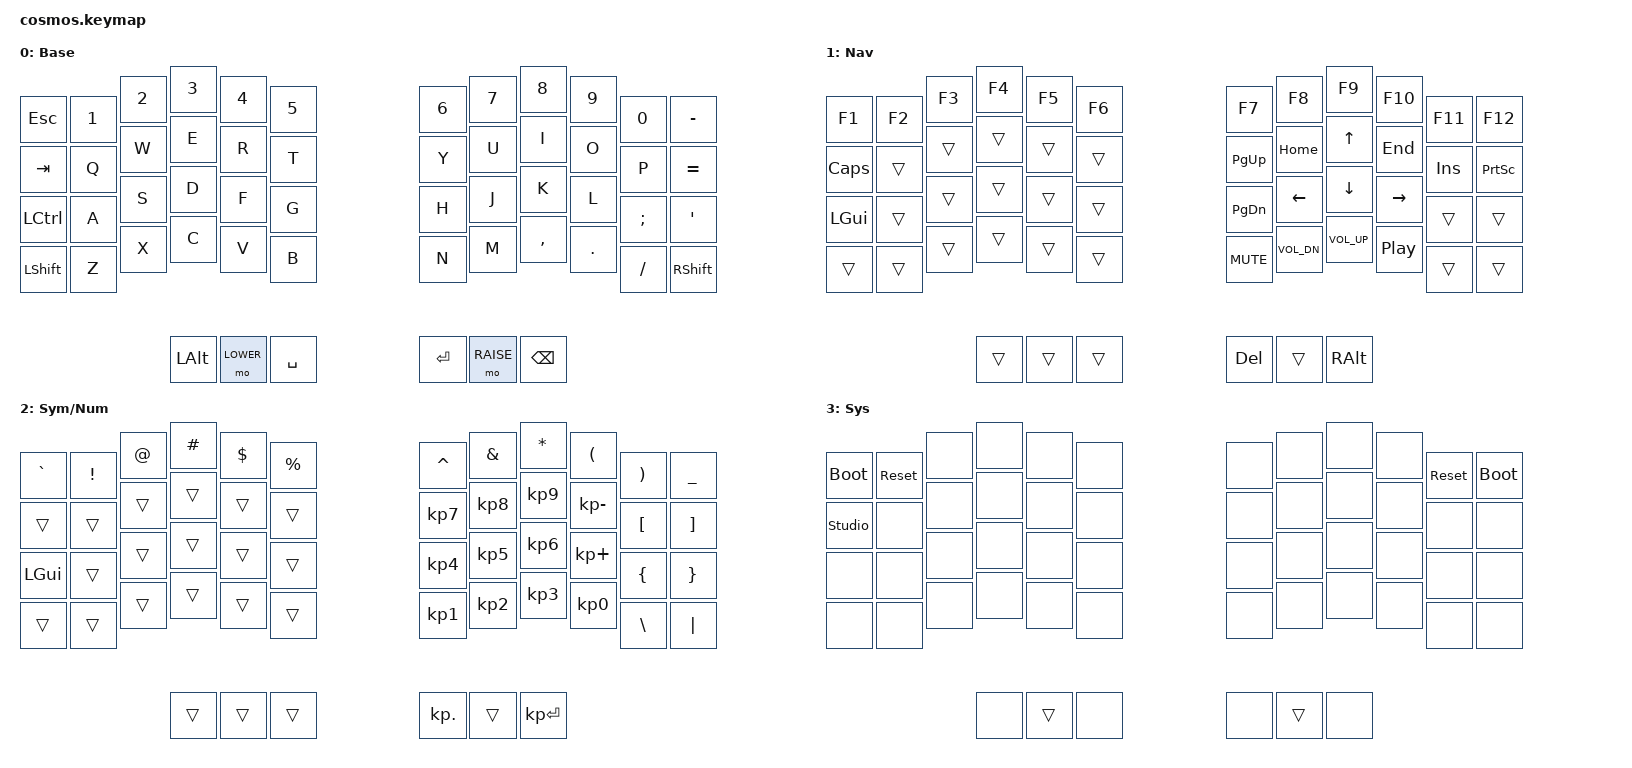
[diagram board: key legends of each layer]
/*
 * Cosmos 4x6 + 3 thumbs per half (27 keys/half) - plain QWERTY.
 * No hold-taps on the base layer so it behaves like a normal keyboard for
 * gaming. Remap live with ZMK Studio.
 *
 * Bottom row = 3 thumb keys per half, written outer -> inner on the left and
 * inner -> outer on the right (visual order).
 */

#include <behaviors.dtsi>
#include <dt-bindings/zmk/keys.h>

#define BASE  0
#define LOWER 1
#define RAISE 2
#define SYS   3

#define ___ &trans
#define XXX &none

/ {
    conditional_layers {
        compatible = "zmk,conditional-layers";
        sys_layer {
            if-layers = <LOWER RAISE>;
            then-layer = <SYS>;
        };
    };

    keymap {
        compatible = "zmk,keymap";

        base_layer {
            display-name = "Base";
            bindings = <
&kp ESC    &kp N1  &kp N2  &kp N3  &kp N4     &kp N5        &kp N6   &kp N7     &kp N8     &kp N9   &kp N0    &kp MINUS
&kp TAB    &kp Q   &kp W   &kp E   &kp R      &kp T         &kp Y    &kp U      &kp I      &kp O    &kp P     &kp EQUAL
&kp LCTRL  &kp A   &kp S   &kp D   &kp F      &kp G         &kp H    &kp J      &kp K      &kp L    &kp SEMI  &kp SQT
&kp LSHFT  &kp Z   &kp X   &kp C   &kp V      &kp B         &kp N    &kp M      &kp COMMA  &kp DOT  &kp FSLH  &kp RSHFT
                           &kp LALT  &mo LOWER  &kp SPACE     &kp RET  &mo RAISE  &kp BSPC
            >;
        };

        lower_layer {
            display-name = "Nav";
            bindings = <
&kp F1     &kp F2  &kp F3  &kp F4  &kp F5  &kp F6        &kp F7      &kp F8        &kp F9        &kp F10    &kp F11   &kp F12
&kp CAPS   ___     ___     ___     ___     ___           &kp PG_UP   &kp HOME      &kp UP        &kp END    &kp INS   &kp PSCRN
&kp LGUI   ___     ___     ___     ___     ___           &kp PG_DN   &kp LEFT      &kp DOWN      &kp RIGHT  ___       ___
___        ___     ___     ___     ___     ___           &kp C_MUTE  &kp C_VOL_DN  &kp C_VOL_UP  &kp C_PP   ___       ___
                           ___     ___     ___           &kp DEL     ___           &kp RALT
            >;
        };

        raise_layer {
            display-name = "Sym/Num";
            bindings = <
&kp GRAVE  &kp EXCL  &kp AT  &kp HASH  &kp DLLR  &kp PRCNT     &kp CARET  &kp AMPS   &kp STAR   &kp LPAR      &kp RPAR  &kp UNDER
___        ___       ___     ___       ___       ___           &kp KP_N7  &kp KP_N8  &kp KP_N9  &kp KP_MINUS  &kp LBKT  &kp RBKT
&kp LGUI   ___       ___     ___       ___       ___           &kp KP_N4  &kp KP_N5  &kp KP_N6  &kp KP_PLUS   &kp LBRC  &kp RBRC
___        ___       ___     ___       ___       ___           &kp KP_N1  &kp KP_N2  &kp KP_N3  &kp KP_N0     &kp BSLH  &kp PIPE
                             ___       ___       ___           &kp KP_DOT ___        &kp KP_ENTER
            >;
        };

        /* LOWER + RAISE together. &bootloader / &sys_reset act on the half
         * whose key you press, so you can flash either half without touching
         * its reset button. */
        sys_layer {
            display-name = "Sys";
            bindings = <
&bootloader     &sys_reset  XXX  XXX  XXX  XXX        XXX  XXX  XXX  XXX  &sys_reset  &bootloader
&studio_unlock  XXX         XXX  XXX  XXX  XXX        XXX  XXX  XXX  XXX  XXX         XXX
XXX             XXX         XXX  XXX  XXX  XXX        XXX  XXX  XXX  XXX  XXX         XXX
XXX             XXX         XXX  XXX  XXX  XXX        XXX  XXX  XXX  XXX  XXX         XXX
                                 XXX  ___  XXX        XXX  ___  XXX
            >;
        };
    };
};
